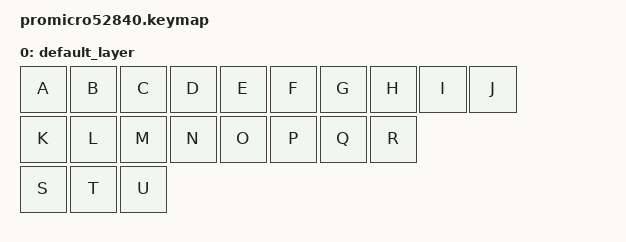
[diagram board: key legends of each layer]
/*
 * Copyright (c) 2020 The ZMK Contributors
 *
 * SPDX-License-Identifier: MIT
 */

#include <behaviors.dtsi>
#include <dt-bindings/zmk/keys.h>
#include <dt-bindings/zmk/bt.h>

/ {
    keymap {
        compatible = "zmk,keymap";

        default_layer {
            bindings = <
                &kp A   &kp B   &kp C   &kp D   &kp E   &kp F   &kp G   &kp H   &kp I   &kp J
                &kp K   &kp L   &kp M   &kp N   &kp O   &kp P   &kp Q   &kp R
                &kp S   &kp T   &kp U
            >;
        };
    };
};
